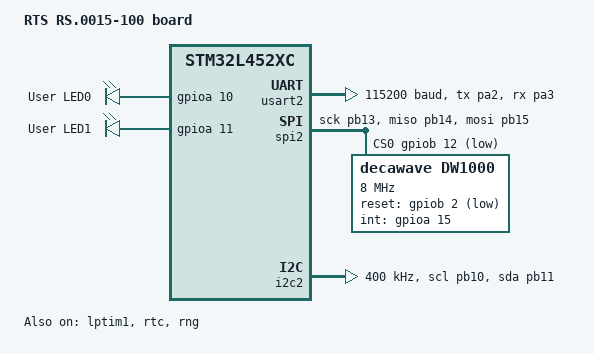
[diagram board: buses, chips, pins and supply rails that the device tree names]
/dts-v1/;
#include <st/l4/stm32l452Xc.dtsi>
#include <st/l4/stm32l452c(c-e)ux-pinctrl.dtsi>

/ {
    model = "RTS RS.0015-100 board";
    compatible = "rts,rs_0015_100";

    chosen {
//        zephyr,console = &usart2;
//        zephyr,shell-uart = &usart2;
        zephyr,sram = &sram0;
        zephyr,flash = &flash0;
    };

    power-states {
        stop0: state0 {
            compatible = "zephyr,power-state";
            power-state-name = "suspend-to-idle";
            substate-id = <1>;
            min-residency-us = <100>;
        };
        stop1: state1 {
            compatible = "zephyr,power-state";
            power-state-name = "suspend-to-idle";
            substate-id = <2>;
            min-residency-us = <500>;
        };
        stop2: state2 {
            compatible = "zephyr,power-state";
            power-state-name = "suspend-to-idle";
            substate-id = <3>;
            min-residency-us = <900>;
        };
    };

    leds {
        compatible = "gpio-leds";
        led0: led_0 {
            gpios = <&gpioa 10 GPIO_ACTIVE_HIGH>;
            label = "User LED0";
        };
        led1: led_1 {
            gpios = <&gpioa 11 GPIO_ACTIVE_HIGH>;
            label = "User LED1";
        };
    };

    aliases {
        led0 = &led0;
        led1 = &led1;
    };
};

&cpu0 {
    cpu-power-states = <&stop0 &stop1 &stop2>;
};

&clk_hsi {
    status = "okay";
};

&clk_lsi {
    status = "okay";
};

&lptim1 {
    status = "okay";
};

&pll {
    div-m = <1>;            /* 16  / 1  = 16MHz  */
    mul-n = <20>;           /* 16  * 20 = 320MHz */
    div-r = <4>;            /* 320 / 4  = 80MHz  */
    clocks = <&clk_hsi>;
    status = "okay";
};

&rcc {
    clocks = <&pll>;
    clock-frequency = <DT_FREQ_M(80)>;
    ahb-prescaler = <1>;
    apb1-prescaler = <1>;
    apb2-prescaler = <1>;
};

&usart2 {
    pinctrl-0 = <&usart2_tx_pa2 &usart2_rx_pa3>;
    pinctrl-names = "default";
    current-speed = <115200>;
    status = "okay";
};

&dma1 {
    status = "okay";
};

&spi2 {
    pinctrl-0 = <&spi2_sck_pb13 &spi2_miso_pb14 &spi2_mosi_pb15>;
    pinctrl-names = "default";
    cs-gpios = <&gpiob 12 (GPIO_ACTIVE_LOW | GPIO_PULL_UP)>;
    status = "okay";
    dmas = <&dma1 5 1 0x20440>, <&dma1 4 1 0x20480>;
    dma-names = "tx", "rx";
    uwb: dw1000@0 {
        compatible = "decawave,dw1000";
        reg = <0>;
        label = "DW1000";
        spi-max-frequency = <8000000>;
        reset-gpios = <&gpiob 2 GPIO_ACTIVE_LOW>;
        int-gpios = <&gpioa 15 (GPIO_PULL_DOWN | GPIO_ACTIVE_HIGH)>;
        tx-ant-delay=<0x4042>;
        rx-ant-delay=<0x4042>;
    };
};

&i2c2 {
    pinctrl-0 = <&i2c2_scl_pb10 &i2c2_sda_pb11>;
    pinctrl-names = "default";
    clock-frequency = <I2C_BITRATE_FAST>;
    status = "okay";
};

&rtc {
    status = "okay";
};

&rng {
    status = "okay";
};

/*
* For more information, see:
* http://docs.zephyrproject.org/latest/guides/dts/index.html#flash-partitions
*/
&flash0 {
    partitions {
        compatible = "fixed-partitions";
        #address-cells = <1>;
        #size-cells = <1>;
        /*
         * Reserve the final 16 KiB for file system partition
         */
        storage_partition: partition@7c000 {
            label = "storage";
            reg = <0x0007c000 0x00008000>;
        };
    };
};
